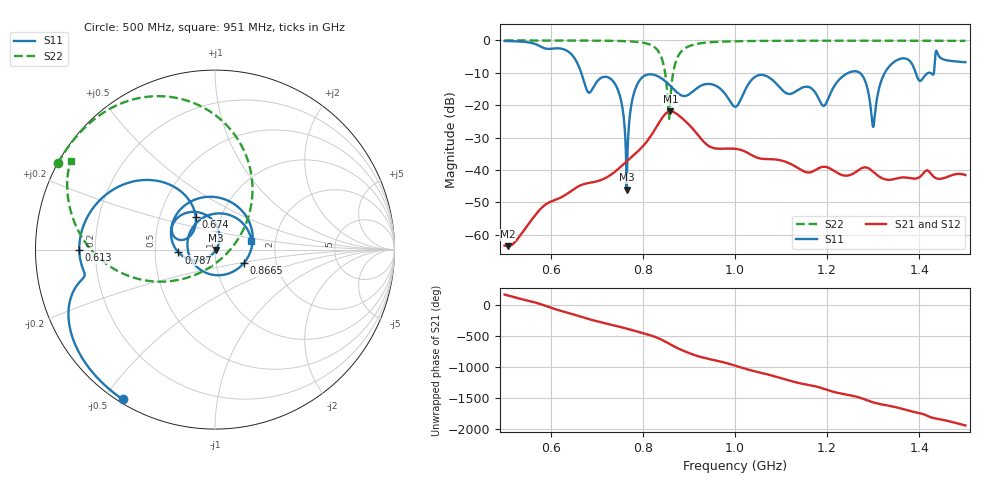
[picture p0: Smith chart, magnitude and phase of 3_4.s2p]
! TOUCHSTONE file generated by CST MICROWAVE STUDIO
! Date and time: Sat Nov 14 19:58:17 2020
! Project name: Scenario_1_Planar_Body_Tissue_Out_of_Line.cst
! Parameters = {dy1=311.4; L_HA=400; Ltissue=700; MT=2.54; Rad_Dielectric=30; Rad_Lower=7.3; Rad_Upper=30; Wtissue=700; a_HA=580; a_WG=246; b_HA=500; b_WG=121; c_HA=0; c_WG=187; d_feed=85; dx1=693; h_feed=15; h_lower=18; h_upper=40; hfat=3; hgap=25; hmuscle=50; hskin=1.5}
! Header version: 2018
! Port assignment regex: !\s*Touchstone port\s*([0-9]+)\s*=\s*(CST MWS port|CST DS port)\s*([0-9]+|Zmin|Zmax)\s*\(\"(.*)\"\)(\s*mode\s*([0-9]+))?.*
! Touchstone port assignment:
! Touchstone port 1 = CST MWS port 1 ("")
! Touchstone port 2 = CST MWS port 2 ("")
# GHz S DB R 50
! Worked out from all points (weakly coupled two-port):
!   1003 points, 500 MHz to 1.5 GHz, reference 50 ohm
!   highest |S21| = -21.87 dB at 860 MHz (marker M1); lowest = -63.5 dB at 507 MHz (marker M2)
!   lowest |S11| = -46.1 dB at 765 MHz (marker M3), VSWR 1.01, Z = 50.4 - j0.279 ohm
!   |S11| at or under -10 dB: 666.3 MHz to 1.246 GHz (579.8 MHz wide, 60.6 % of centre); 1.271 GHz to 1.325 GHz (54.42 MHz wide, 4.19 % of centre); 1.392 GHz to 1.42 GHz (27.78 MHz wide, 1.98 % of centre)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
!   |S22| runs from -24.2 to 0.0 dB; largest |S21 - S12| = 1.6e-05
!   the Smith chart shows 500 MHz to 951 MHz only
!   S11 on the Smith chart (normalised r, x): 500 MHz: 0.01, -0.56; 613 MHz: 0.14, -0.00; 674 MHz: 0.76, +0.29; 787 MHz: 0.66, -0.02; 866.5 MHz: 1.37, -0.21; 951 MHz: 1.50, +0.16
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0.5  -0.17 -121.7  -63.33 165.3  -63.33 165.3  -0.01 151.2
0.507  -0.20 -124.7  -63.52 152.0  -63.52 152.0  -0.01 150.7
0.613  -2.43 -179.9  -49.05 -77.1  -49.05 -77.1  -0.02 143.1
0.667  -10.29 117.5  -44.60 165.2  -44.60 165.2  -0.04 138.4
0.674  -13.48 120.5  -44.28 149.1  -44.28 149.1  -0.05 137.7
0.738  -13.07 112.1  -40.69 29.5  -40.69 29.5  -0.13 129.6
0.765  -46.05 -33.7  -37.31 -22.1  -37.31 -22.1  -0.24 124.2
0.787  -13.80 -175.5  -34.52 -67.8  -34.52 -67.8  -0.44 117.9
0.834  -11.16 68.9  -25.68 -177.8  -25.68 -177.8  -3.43 82.5
0.86  -14.09 -3.6  -21.87 82.4  -21.87 82.4  -17.59 -117.2
0.8665  -15.01 -24.7  -22.08 56.1  -22.08 56.1  -9.43 -148.1
0.906  -16.03 166.3  -26.87 -71.1  -26.87 -71.1  -1.49 163.8
0.951  -13.59 14.0  -33.12 -161.2  -33.12 -161.2  -0.51 148.5
1  -20.48 -163.8  -33.44 103.4  -33.44 103.4  -0.27 140.1
1.052  -10.71 -10.2  -36.36 -4.5  -36.36 -4.5  -0.16 134.1
1.103  -15.37 -160.7  -37.16 -105.6  -37.16 -105.6  -0.12 129.4
1.167  -14.92 -22.8  -40.55 142.8  -40.55 142.8  -0.10 124.1
1.202  -18.08 149.4  -39.25 68.0  -39.25 68.0  -0.09 121.4
1.268  -9.76 -0.7  -40.05 -46.1  -40.05 -46.1  -0.08 116.4
1.3  -26.74 12.1  -40.54 -128.2  -40.54 -128.2  -0.08 114.0
1.334  -8.14 31.9  -43.03 177.8  -43.03 177.8  -0.08 111.5
1.5  -6.72 -47.7  -41.55 -138.7  -41.55 -138.7  -0.13 97.8
